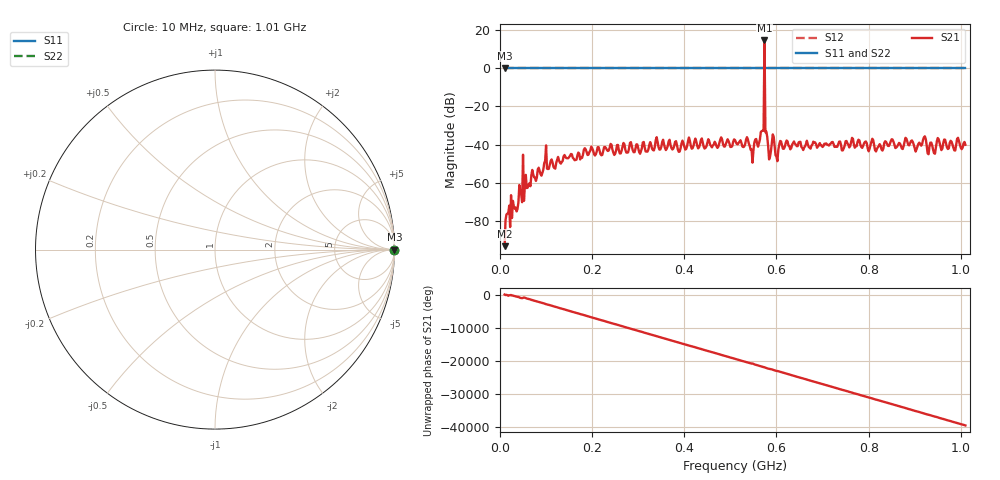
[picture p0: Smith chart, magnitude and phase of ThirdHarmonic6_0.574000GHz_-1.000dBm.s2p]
! 8/15/2025 6:29:02 PM
! C:\ANRITSUVNA\TEMP\TEMP.S2P
! CHANNEL.1
! TR.MEASUREMENT
! RAW.DATA
! RF.CORRECTION.OFF
! AVERAGING.OFF
! IF.BANDWIDTH: 5KHZ
! SWEEPTYPE:  FREQ.SWEEP(Linear)
! Reference Plane Port Info
! PORT:  PORT1  PORT2
! DISTANCE:  0  m  0  m
! TIME:  0  s  0  s
! PHASE.OFFSET:  0  deg.  0  deg.
! LOSS:  0  dB  0  dB
! REF.LOSS:  0  dB  0  dB
! REF.FREQ:  0  Hz  0  Hz
! Power Info
! POWER:  -20  dBm  -20  dBm
! EFF.POWER:  -20  dBm  -20  dBm
! SOURCE.ATTEN:  0  dB  0  dB
! TEST.ATTEN:  0  dB  0  dB
# GHZ S RI R 50.0
! FREQ.GHZ  S11RE  S11IM  S21RE  S21IM  S12RE  S12IM  S22RE  S22IM
!; PortSelection: Port_12
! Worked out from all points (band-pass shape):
!   501 points, 10 MHz to 1.01 GHz, reference 50 ohm
!   highest |S21| = 14.39 dB at 574 MHz (marker M1); lowest = -92.9 dB at 10 MHz (marker M2)
!   |S21| within 3 dB of the highest: 573.8727 MHz to 574.1252 MHz (252.5 kHz wide, 0.044 % of centre)
!   lowest |S11| = 0.0 dB at 10 MHz (marker M3)
!   |S11| at or under -10 dB: nowhere
!   |S22| runs from 0.0 to 0.0 dB; largest |S21 - S12| = 4.6
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0.01  1 0  -7.2e-06 2.14e-05  1 0  1 0
0.036  1 0  -0.000116 -0.00014  1 0  1 0
0.046  1 0  -0.000302 0.000414  1 0  1 0
0.062  1 0  -0.00081 -0.000394  1 0  1 0
0.098  1 0  -0.00382 0.000412  1 0  1 0
0.178  1 0  -0.00452 0.000114  1 0  1 0
0.344  1 0  0.00155 -0.00853  1 0  1 0
0.51  1 0  0.00178 0.0131  1 0  1 0
0.538  1 0  0.0123 0.00595  1 0  1 0
0.548  1 0  -0.00012 0.00341  1 0  1 0
0.568  1 0  0.0035 -0.0224  1 0  1 0
0.57  1 0  -0.0231 -0.00126  1 0  1 0
0.574  1 0  3.814 3.592  1 0  1 0
0.578  1 0  -0.0221 -0.00138  1 0  1 0
0.58  1 0  0.0016 0.0158  1 0  1 0
0.586  1 0  -0.00174 -0.00451  1 0  1 0
0.592  1 0  0.0175 0.00623  1 0  1 0
0.6  1 0  0.0034 0.00352  1 0  1 0
0.608  1 0  -0.00273 0.0122  1 0  1 0
0.678  1 0  -0.00996 0.00198  1 0  1 0
0.844  1 0  0.00645 -0.00666  1 0  1 0
1.01  1 0  0.00302 0.0095  1 0  1 0
